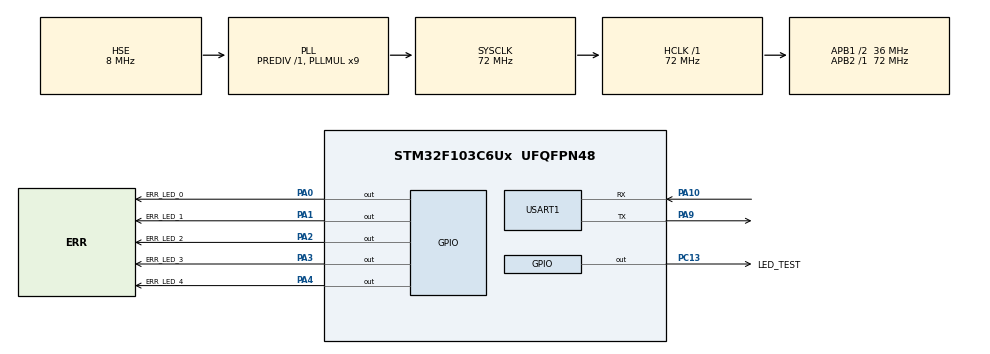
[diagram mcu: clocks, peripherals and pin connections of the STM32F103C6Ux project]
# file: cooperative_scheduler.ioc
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Mcu.Family=STM32F1
Mcu.Name=STM32F103C6Ux
Mcu.Package=UFQFPN48
NVIC.PriorityGroup=NVIC_PRIORITYGROUP_4
NVIC.TIM2_IRQn=true\:0\:0\:false\:false\:true\:true\:true
PA0-WKUP.GPIO_Label=ERR_LED_0
PA0-WKUP.Signal=GPIO_Output
PA1.GPIO_Label=ERR_LED_1
PA1.Signal=GPIO_Output
PA10.Mode=Asynchronous
PA10.Signal=USART1_RX
PA13.Mode=Serial_Wire
PA13.Signal=SYS_JTMS-SWDIO
PA14.Mode=Serial_Wire
PA14.Signal=SYS_JTCK-SWCLK
PA2.GPIO_Label=ERR_LED_2
PA2.Signal=GPIO_Output
PA3.GPIO_Label=ERR_LED_3
PA3.Signal=GPIO_Output
PA4.GPIO_Label=ERR_LED_4
PA4.Signal=GPIO_Output
PA9.Mode=Asynchronous
PA9.Signal=USART1_TX
PC13-TAMPER-RTC.GPIO_Label=LED_TEST
PC13-TAMPER-RTC.Signal=GPIO_Output
PD0-OSC_IN.Mode=HSE-External-Oscillator
PD0-OSC_IN.Signal=RCC_OSC_IN
PD1-OSC_OUT.Mode=HSE-External-Oscillator
PD1-OSC_OUT.Signal=RCC_OSC_OUT
ProjectManager.HeapSize=0x200
ProjectManager.StackSize=0x400
ProjectManager.TargetToolchain=STM32CubeIDE
RCC.AHBFreq_Value=72000000
RCC.APB1CLKDivider=RCC_HCLK_DIV2
RCC.APB1Freq_Value=36000000
RCC.APB1TimFreq_Value=72000000
RCC.APB2Freq_Value=72000000
RCC.APB2TimFreq_Value=72000000
RCC.HCLKFreq_Value=72000000
RCC.PLLMUL=RCC_PLL_MUL9
RCC.PLLSourceVirtual=RCC_PLLSOURCE_HSE
RCC.SYSCLKFreq_VALUE=72000000
RCC.SYSCLKSource=RCC_SYSCLKSOURCE_PLLCLK
RCC.USBFreq_Value=72000000
TIM2.AutoReloadPreload=TIM_AUTORELOAD_PRELOAD_ENABLE
TIM2.Period=99
TIM2.Prescaler=7199
USART1.VirtualMode=VM_ASYNC
VP_TIM2_VS_ClockSourceINT.Mode=Internal
board=custom

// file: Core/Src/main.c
/* USER CODE BEGIN Header */
/**
  ******************************************************************************
  * @file           : main.c
  * @brief          : Main program body
  ******************************************************************************
  * @attention
  *
  * <h2><center>&copy; Copyright (c) 2026 STMicroelectronics.
  * All rights reserved.</center></h2>
  *
  * This software component is licensed by ST under BSD 3-Clause license,
  * the "License"; You may not use this file except in compliance with the
  * License. You may obtain a copy of the License at:
  *                        opensource.org/licenses/BSD-3-Clause
  *
  ******************************************************************************
  */
/* USER CODE END Header */
#include "main.h"

/* USER CODE BEGIN Includes */
#include "scheduler.h"
#include <stdio.h>
/* USER CODE END Includes */

TIM_HandleTypeDef htim2;

UART_HandleTypeDef huart1;

void SystemClock_Config(void);
static void MX_GPIO_Init(void);
static void MX_TIM2_Init(void);
static void MX_USART1_UART_Init(void);

/* USER CODE BEGIN 0 */
#ifdef __GNUC__
#define PUTCHAR_PROTOTYPE int __io_putchar(int ch)
#else
#define PUTCHAR_PROTOTYPE int fputc(int ch, FILE *f)
#endif

PUTCHAR_PROTOTYPE
{
  HAL_UART_Transmit(&huart1, (uint8_t *)&ch, 1, HAL_MAX_DELAY);
  return ch;
}

// Định nghĩa 5 Task tương ứng với 5 con LED độc lập từ PA0 đến PA4
void Task1_0_5s(void) {
    char buffer[64];
    int len = sprintf(buffer, "Task 1 (0.5s): %u ms\r\n", (unsigned int)HAL_GetTick());
    HAL_UART_Transmit(&huart1, (uint8_t*)buffer, len, HAL_MAX_DELAY);

    // Task 1 chớp tắt LED_0 tại chân PA0 mỗi 0.5 giây
    HAL_GPIO_TogglePin(GPIOA, ERR_LED_0_Pin);
}

void Task2_1_0s(void) {
    char buffer[64];
    int len = sprintf(buffer, "Task 2 (1.0s) - Timestamp: %u ms\r\n", (unsigned int)HAL_GetTick());
    HAL_UART_Transmit(&huart1, (uint8_t*)buffer, len, HAL_MAX_DELAY);

    // Task 2 chớp tắt LED_1 tại chân PA1 mỗi 1.0 giây
    HAL_GPIO_TogglePin(GPIOA, ERR_LED_1_Pin);
}

void Task3_1_5s(void) {
    char buffer[64];
    int len = sprintf(buffer, "Task 3 (1.5s) - Timestamp: %u ms\r\n", (unsigned int)HAL_GetTick());
    HAL_UART_Transmit(&huart1, (uint8_t*)buffer, len, HAL_MAX_DELAY);

    // Task 3 chớp tắt LED_2 tại chân PA2 mỗi 1.5 giây
    HAL_GPIO_TogglePin(GPIOA, ERR_LED_2_Pin);
}

void Task4_2_0s(void) {
    char buffer[64];
    int len = sprintf(buffer, "Task 4 (2.0s) - Timestamp: %u ms\r\n", (unsigned int)HAL_GetTick());
    HAL_UART_Transmit(&huart1, (uint8_t*)buffer, len, HAL_MAX_DELAY);

    // Task 4 chớp tắt LED_3 tại chân PA3 mỗi 2.0 giây
    HAL_GPIO_TogglePin(GPIOA, ERR_LED_3_Pin);
}

void Task5_2_5s(void) {
    char buffer[64];
    int len = sprintf(buffer, "Task 5 (2.5s) - Timestamp: %u ms\r\n", (unsigned int)HAL_GetTick());
    HAL_UART_Transmit(&huart1, (uint8_t*)buffer, len, HAL_MAX_DELAY);

    // Task 5 chớp tắt LED_4 tại chân PA4 mỗi 2.5 giây
    HAL_GPIO_TogglePin(GPIOA, ERR_LED_4_Pin);
}
/* USER CODE END 0 */

int main(void)
{

  /* MCU Configuration--------------------------------------------------------*/

  /* Reset of all peripherals, Initializes the Flash interface and the Systick. */
  HAL_Init();

  /* Configure the system clock */
  SystemClock_Config();

  /* Initialize all configured peripherals */
  MX_GPIO_Init();
  MX_TIM2_Init();
  MX_USART1_UART_Init();
  /* USER CODE BEGIN 2 */

  SCH_Init(); // Khởi tạo mảng task ban đầu[cite: 13]

  // �?ăng ký 5 task với th�?i gian trễ ban đầu và chu kỳ lặp lại (1 tick = 10ms)[cite: 22, 23]
  SCH_Add_Task(Task1_0_5s, 50, 50);   // 50 ticks = 0.5s
  SCH_Add_Task(Task2_1_0s, 100, 100); // 100 ticks = 1.0s
  SCH_Add_Task(Task3_1_5s, 150, 150); // 150 ticks = 1.5s
  SCH_Add_Task(Task4_2_0s, 200, 200); // 200 ticks = 2.0s
  SCH_Add_Task(Task5_2_5s, 250, 250); // 250 ticks = 2.5s

  // Khởi động ngắt Timer 2 (bắt đầu đếm tick)
  HAL_TIM_Base_Start_IT(&htim2);

  /* USER CODE END 2 */

  /* Infinite loop */
  while (1)
  {

    /* USER CODE BEGIN 3 */
      // Bộ đi�?u phối chạy liên tục để kiểm tra và thực thi các task đến hạn[cite: 17, 18]
      SCH_Dispatch_Tasks();
  }
  /* USER CODE END 3 */
}

void SystemClock_Config(void)
{
  RCC_OscInitTypeDef RCC_OscInitStruct = {0};
  RCC_ClkInitTypeDef RCC_ClkInitStruct = {0};

  /** Initializes the RCC Oscillators according to the specified parameters
  * in the RCC_OscInitTypeDef structure.
  */
  RCC_OscInitStruct.OscillatorType = RCC_OSCILLATORTYPE_HSE;
  RCC_OscInitStruct.HSEState = RCC_HSE_ON;
  RCC_OscInitStruct.HSEPredivValue = RCC_HSE_PREDIV_DIV1;
  RCC_OscInitStruct.HSIState = RCC_HSI_ON;
  RCC_OscInitStruct.PLL.PLLState = RCC_PLL_ON;
  RCC_OscInitStruct.PLL.PLLSource = RCC_PLLSOURCE_HSE;
  RCC_OscInitStruct.PLL.PLLMUL = RCC_PLL_MUL9;
  if (HAL_RCC_OscConfig(&RCC_OscInitStruct) != HAL_OK)
  {
    Error_Handler();
  }
  /** Initializes the CPU, AHB and APB buses clocks
  */
  RCC_ClkInitStruct.ClockType = RCC_CLOCKTYPE_HCLK|RCC_CLOCKTYPE_SYSCLK
                              |RCC_CLOCKTYPE_PCLK1|RCC_CLOCKTYPE_PCLK2;
  RCC_ClkInitStruct.SYSCLKSource = RCC_SYSCLKSOURCE_PLLCLK;
  RCC_ClkInitStruct.AHBCLKDivider = RCC_SYSCLK_DIV1;
  RCC_ClkInitStruct.APB1CLKDivider = RCC_HCLK_DIV2;
  RCC_ClkInitStruct.APB2CLKDivider = RCC_HCLK_DIV1;

  if (HAL_RCC_ClockConfig(&RCC_ClkInitStruct, FLASH_LATENCY_2) != HAL_OK)
  {
    Error_Handler();
  }
}

static void MX_TIM2_Init(void)
{

  TIM_ClockConfigTypeDef sClockSourceConfig = {0};
  TIM_MasterConfigTypeDef sMasterConfig = {0};

  htim2.Instance = TIM2;
  htim2.Init.Prescaler = 7199;
  htim2.Init.CounterMode = TIM_COUNTERMODE_UP;
  htim2.Init.Period = 99;
  htim2.Init.ClockDivision = TIM_CLOCKDIVISION_DIV1;
  htim2.Init.AutoReloadPreload = TIM_AUTORELOAD_PRELOAD_ENABLE;
  if (HAL_TIM_Base_Init(&htim2) != HAL_OK)
  {
    Error_Handler();
  }
  sClockSourceConfig.ClockSource = TIM_CLOCKSOURCE_INTERNAL;
  if (HAL_TIM_ConfigClockSource(&htim2, &sClockSourceConfig) != HAL_OK)
  {
    Error_Handler();
  }
  sMasterConfig.MasterOutputTrigger = TIM_TRGO_RESET;
  sMasterConfig.MasterSlaveMode = TIM_MASTERSLAVEMODE_DISABLE;
  if (HAL_TIMEx_MasterConfigSynchronization(&htim2, &sMasterConfig) != HAL_OK)
  {
    Error_Handler();
  }

}

static void MX_USART1_UART_Init(void)
{

  huart1.Instance = USART1;
  huart1.Init.BaudRate = 115200;
  huart1.Init.WordLength = UART_WORDLENGTH_8B;
  huart1.Init.StopBits = UART_STOPBITS_1;
  huart1.Init.Parity = UART_PARITY_NONE;
  huart1.Init.Mode = UART_MODE_TX_RX;
  huart1.Init.HwFlowCtl = UART_HWCONTROL_NONE;
  huart1.Init.OverSampling = UART_OVERSAMPLING_16;
  if (HAL_UART_Init(&huart1) != HAL_OK)
  {
    Error_Handler();
  }

}

static void MX_GPIO_Init(void)
{
  GPIO_InitTypeDef GPIO_InitStruct = {0};

  /* GPIO Ports Clock Enable */
  __HAL_RCC_GPIOC_CLK_ENABLE();
  __HAL_RCC_GPIOD_CLK_ENABLE();
  __HAL_RCC_GPIOA_CLK_ENABLE();

  /*Configure GPIO pin Output Level */
  HAL_GPIO_WritePin(LED_TEST_GPIO_Port, LED_TEST_Pin, GPIO_PIN_RESET);

  /*Configure GPIO pin Output Level */
  HAL_GPIO_WritePin(GPIOA, ERR_LED_0_Pin|ERR_LED_1_Pin|ERR_LED_2_Pin|ERR_LED_3_Pin
                          |ERR_LED_4_Pin, GPIO_PIN_RESET);

  /*Configure GPIO pin : LED_TEST_Pin */
  GPIO_InitStruct.Pin = LED_TEST_Pin;
  GPIO_InitStruct.Mode = GPIO_MODE_OUTPUT_PP;
  GPIO_InitStruct.Pull = GPIO_NOPULL;
  GPIO_InitStruct.Speed = GPIO_SPEED_FREQ_LOW;
  HAL_GPIO_Init(LED_TEST_GPIO_Port, &GPIO_InitStruct);

  /*Configure GPIO pins : ERR_LED_0_Pin ERR_LED_1_Pin ERR_LED_2_Pin ERR_LED_3_Pin
                           ERR_LED_4_Pin */
  GPIO_InitStruct.Pin = ERR_LED_0_Pin|ERR_LED_1_Pin|ERR_LED_2_Pin|ERR_LED_3_Pin
                          |ERR_LED_4_Pin;
  GPIO_InitStruct.Mode = GPIO_MODE_OUTPUT_PP;
  GPIO_InitStruct.Pull = GPIO_NOPULL;
  GPIO_InitStruct.Speed = GPIO_SPEED_FREQ_LOW;
  HAL_GPIO_Init(GPIOA, &GPIO_InitStruct);

}

/* USER CODE BEGIN 4 */
// Hàm ngắt Callback của Timer 2, được g�?i tự động mỗi 10ms
void HAL_TIM_PeriodElapsedCallback(TIM_HandleTypeDef *htim) {
    if (htim->Instance == TIM2) {
        SCH_Update(); // Cập nhật trạng thái th�?i gian cho các task[cite: 15, 16]
    }
}
/* USER CODE END 4 */

void Error_Handler(void)
{
  __disable_irq();
  while (1)
  {
  }
}

/************************ (C) COPYRIGHT STMicroelectronics *****END OF FILE****/
